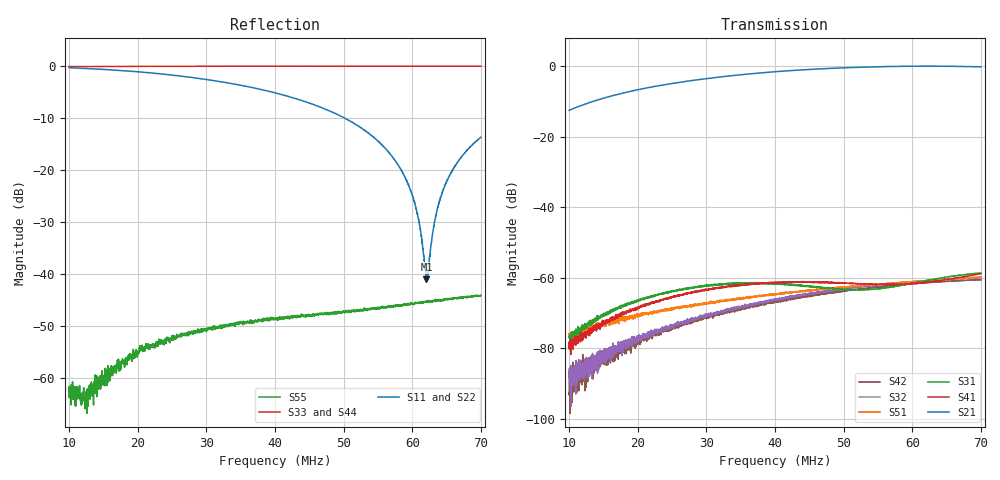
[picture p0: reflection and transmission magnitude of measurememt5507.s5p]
#  HZ  S  RI  R  50.00
! Rohde & Schwarz ZVT8 8Ports - Version 4.11 - 1300.0000k08 SN: 100242
! Date: 2026-07-06 11:40:06
! Measurements: S11 S12 S13 S14 S15 S21 S22 S23 S24 S25 S31 S32 S33 S34 S35 S41 S42 S43 S44 S45 S51 S52 S53 S54 S55
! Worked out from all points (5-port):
!   3001 points, 10 MHz to 70 MHz, reference 50 ohm
!   strongest paths, dB at 10 MHz, 25 MHz, 40 MHz, 55 MHz, 70 MHz:
!     S21: -12.5, -4.9, -1.6, -0.2, -0.2
!     S41: -78.6, -65.4, -61.4, -61.8, -58.8
!     S31: -76.6, -63.8, -61.8, -63.0, -58.7
!     S51: -76.8, -68.6, -64.8, -61.8, -59.7
!     S32: -88.2, -73.2, -66.1, -62.0, -59.9
!     S42: -92.6, -74.4, -66.6, -62.6, -60.5
!   lowest |S11| = -41.0 dB at 62.06 MHz (marker M1), VSWR 1.02, Z = 49.1 - j0.124 ohm
!   |S11| at or under -10 dB: 50.13 MHz to end of sweep
